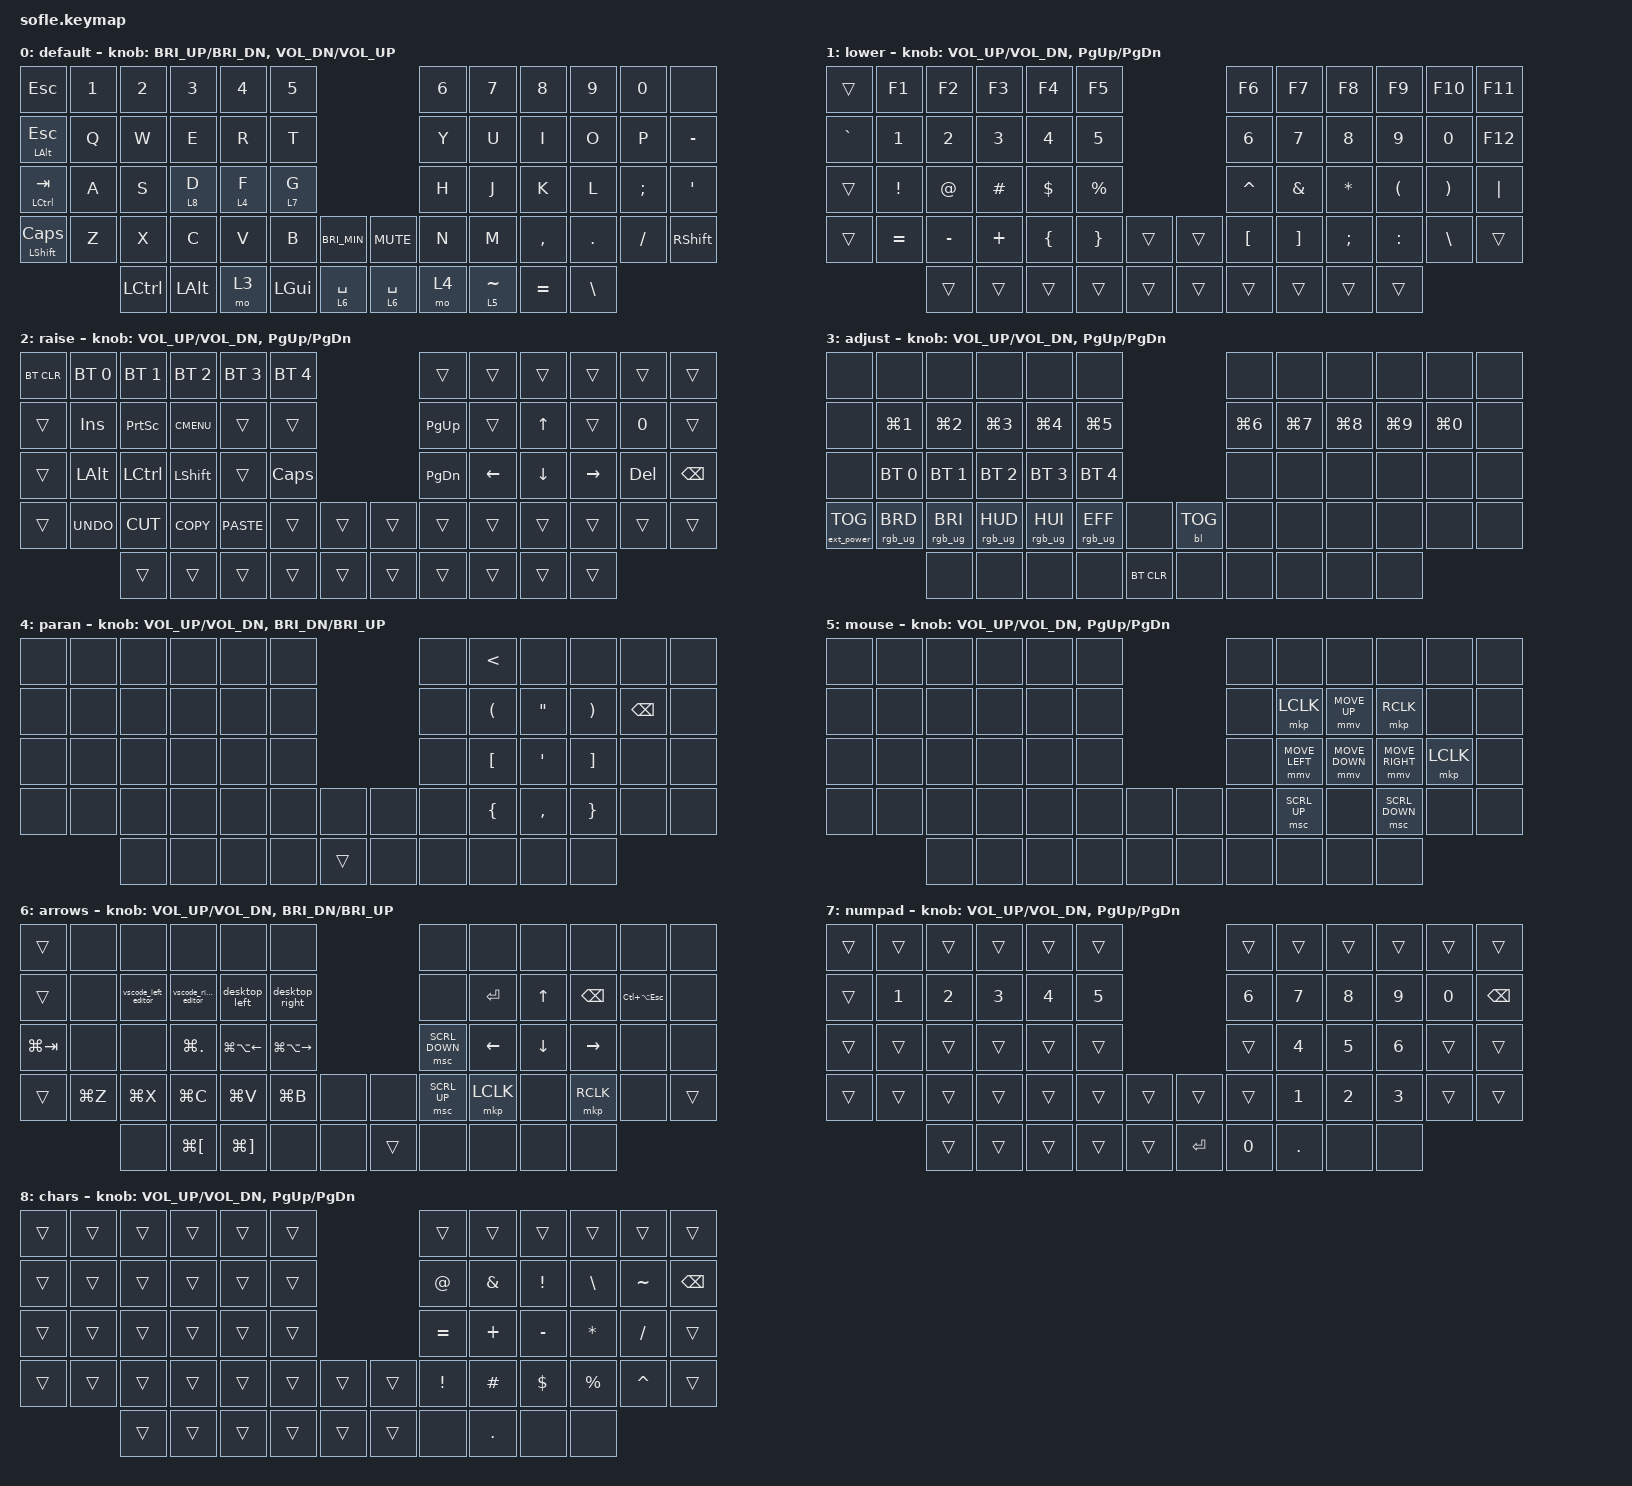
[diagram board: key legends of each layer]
/*
 * Copyright (c) 2020 The ZMK Contributors
 *
 * SPDX-License-Identifier: MIT
 */

#include <behaviors.dtsi>
#include <dt-bindings/zmk/keys.h>
#include <dt-bindings/zmk/bt.h>
#include <dt-bindings/zmk/rgb.h>
#include <dt-bindings/zmk/ext_power.h>
#include <input/processors.dtsi>
#include <dt-bindings/zmk/backlight.h>


#define BASE 0
#define LOWER 1
#define RAISE 2
#define ADJUST 3
#define PARAN 4
#define MOUSE 5
#define ARROWS 6
#define NUMPAD 7
#define CHARS 8

#define ZMK_POINTING_DEFAULT_MOVE_VAL 3500
#define ZMK_POINTING_DEFAULT_SCRL_VAL 18

#include <dt-bindings/zmk/pointing.h>

&led_strip {
       chain-length = <36>;
};

&nice_view_spi {
    cs-gpios = <&pro_micro 4 GPIO_ACTIVE_HIGH>;
};

&mmv {
    x-input-code = <INPUT_REL_X>;
    y-input-code = <INPUT_REL_Y>;
    time-to-max-speed-ms = <500>;
    acceleration-exponent = <3>;
};
 //&mmv_input_listener {
 //   input-processors = <&zip_xy_scaler 1 1>;
//};

/ {

   // Activate ADJUST layer by pressing raise and lower
    conditional_layers {
        compatible = "zmk,conditional-layers";
    };

    behaviors {
 //       to use it add &alt_ctrl_esc in keybinding
        alt_ctrl_esc: alt_ctrl_esc {
            compatible = "zmk,behavior-macro";
            #binding-cells = <0>;  /* Must match the binding definition */
        wait-ms = <0>;
            tap-ms = <0>;
            bindings = <
                &macro_press &kp LALT &kp LCTRL
                &macro_tap &kp ESC
                &macro_release &kp LCTRL &kp LALT
            >;
        };
        vscode_left_editor: vscode_left_editor {
            compatible = "zmk,behavior-macro";
            #binding-cells = <0>;
            wait-ms = <0>;
            tap-ms = <0>;
            bindings = <
                &macro_press   &kp LGUI &kp K
                &macro_tap     &kp LEFT
                &macro_release     &kp LGUI &kp K
            >;
        };

        vscode_right_editor: vscode_right_editor {
            compatible = "zmk,behavior-macro";
            #binding-cells = <0>;
            wait-ms = <0>;
            tap-ms = <0>;
            bindings = <
                &macro_press   &kp LGUI &kp K
                &macro_tap     &kp RIGHT
                &macro_release     &kp LGUI &kp K
            >;
        };

        desktop_left: desktop_left {
            compatible = "zmk,behavior-macro";
            label = "CTRL_LEFT";
            #binding-cells = <0>;
            wait-ms = <30>;
            tap-ms = <30>;
            bindings =
                <&macro_press   &kp LCTRL>,
                <&macro_tap     &kp LEFT>,
                <&macro_release &kp LCTRL>;
        };

        desktop_right: desktop_right {
            compatible = "zmk,behavior-macro";
            label = "CTRL_RIGHT";
            #binding-cells = <0>;
            wait-ms = <30>;
            tap-ms = <30>;
            bindings =
                <&macro_press   &kp LCTRL>,
                <&macro_tap     &kp RIGHT>,
                <&macro_release &kp LCTRL>;
        };
    };


    keymap {
        compatible = "zmk,keymap";

        default_layer {
            display-name = "default";
//  This layer requires the setting  hidutil property --set '{"CapsLockDelayOverride":0}'  in OSX for CAPS/SHIFT key. 
// ------------------------------------------------------------------------------------------------------------
// |            |  1  |  2  |  3   |  4   |  5   |                   |  6   |  7    |  8    |  9   |   0   |  |
// |   ESC      |  Q  |  W  |  E   |  R   |  T   |                   |  Y   |  U    |  I    |  O   |   P   | MINUS  |
// |   TAB      |  A  |  S  |  D   |  F   |  G 7 |  br+-       vol+- |  H   |  J    |  K    |  L   |   ;   | SQT |
// | CAPS/SHIFT |  Z  |  X  |  C   |  V   |  B   |  BR0   | X|  MUTE |  N   |  M    |  ,    |  .   |   /   | SHIFT |
//                 | CTRL | ALT | CMD  | SPACE|  &M1| X| M4| SP&M3| ~&M2  |  EQUAL   | BSLH |
            bindings = <
&kp ESC          &kp N1 &kp N2    &kp N3   &kp N4    &kp N5                           &kp N6 &kp N7    &kp N8    &kp N9   &kp N0   &none
&mt LALT ESC     &kp Q  &kp W     &kp E    &kp R     &kp T                            &kp Y  &kp U     &kp I     &kp O    &kp P    &kp MINUS
&mt LCTRL TAB    &kp A  &kp S     &lt 8 D    &lt 4 F   &lt 7  G                         &kp H  &kp J     &kp K     &kp L    &kp SEMI &kp SQT
&mt LSHFT CAPS   &kp Z  &kp X     &kp C    &kp V     &kp B     &kp C_BRI_MIN &kp C_MUTE      &kp N  &kp M     &kp COMMA &kp DOT  &kp FSLH &kp RSHFT
                        &kp LCTRL &kp LALT &mo 3     &kp LGUI &lt 6 SPACE    &lt 6  SPACE  &mo 4  &lt 5 TILDE  &kp EQUAL  &kp BSLH
            >;

            sensor-bindings = <&inc_dec_kp C_BRI_UP C_BRI_DN  &inc_dec_kp C_VOL_DN C_VOL_UP>;
        };

        lower_layer {
            display-name = "lower";
// TODO: Some binds are waiting for shifted keycode support.
// ------------------------------------------------------------------------------------------------------------
// |       |  F1 |  F2 |  F3  |  F4  |  F5  |                   |  F6  |  F7   |  F8   |  F9  |  F10  |  F11  |
// |   `   |  1  |  2  |  3   |  4   |  5   |                   |  6   |  7    |  8    |  9   |   0   |  F12  |
// |       |  !  |  @  |  #   |  $   |  %   |                   |  ^   |  &    |  *    |  (   |   )   |   |   |
// |       |  =  |  -  |  +   |  {   |  }   |        |  |       |  [   |  ]    |  ;    |  :   |   \   |       |
//               |     |      |      |      |        |  |       |      |       |       |      |
            bindings = <
&trans    &kp F1    &kp F2    &kp F3      &kp F4    &kp F5                    &kp F6    &kp F7   &kp F8    &kp F9    &kp F10   &kp F11
&kp GRAVE &kp N1    &kp N2    &kp N3      &kp N4    &kp N5                    &kp N6    &kp N7   &kp N8    &kp N9    &kp N0    &kp F12
&trans    &kp EXCL  &kp AT    &kp HASH    &kp DLLR  &kp PRCNT                 &kp CARET &kp AMPS &kp ASTRK &kp LPAR  &kp RPAR  &kp PIPE
&trans    &kp EQUAL &kp MINUS &kp PLUS &kp LBRC  &kp RBRC   &trans &trans  &kp LBKT  &kp RBKT &kp SEMI  &kp COLON &kp BSLH  &trans
                    &trans    &trans      &trans    &trans     &trans &trans  &trans    &trans   &trans    &trans
            >;

            sensor-bindings = <&inc_dec_kp C_VOL_UP C_VOL_DN &inc_dec_kp PG_UP PG_DN>;
        };

        raise_layer {
            display-name = "raise";
// ------------------------------------------------------------------------------------------------------------
// | BTCLR | BT1  | BT2  |  BT3  |  BT4  |  BT5 |                |      |      |       |      |       |       |
// |       | INS  | PSCR | GUI   |       |      |                | PGUP |      |   ^   |      |       |       |
// |       | ALT  | CTRL | SHIFT |       | CAPS |                | PGDN |   <- |   v   |  ->  |  DEL  | BKSPC |
// |       | UNDO | CUT  | COPY  | PASTE |      |      |  |      |      |      |       |      |       |       |
//                |      |       |       |      |      |  |      |      |      |       |      |
            bindings = <
&bt BT_CLR &bt BT_SEL 0 &bt BT_SEL 1 &bt BT_SEL 2 &bt BT_SEL 3 &bt BT_SEL 4                  &trans    &trans    &trans   &trans    &trans  &trans
&trans     &kp INS      &kp PSCRN    &kp K_CMENU  &trans       &trans                        &kp PG_UP &trans    &kp UP   &trans    &kp N0  &trans
&trans     &kp LALT     &kp LCTRL    &kp LSHFT    &trans       &kp CLCK                      &kp PG_DN &kp LEFT  &kp DOWN &kp RIGHT &kp DEL &kp BSPC
&trans     &kp K_UNDO   &kp K_CUT    &kp K_COPY   &kp K_PASTE  &trans        &trans  &trans  &trans    &trans    &trans   &trans    &trans  &trans
                        &trans       &trans       &trans       &trans        &trans  &trans  &trans    &trans    &trans   &trans
            >;

            sensor-bindings = <&inc_dec_kp C_VOL_UP C_VOL_DN &inc_dec_kp PG_UP PG_DN>;
        };

        adjust_layer {
            display-name = "adjust";
// ----------------------------------------------------------------------------------------------------------------------------
// |        |         |         |         |         |         |                  |      |      |       |      |       |       |
// |        | CMD+1   | CMD+2   |   CMD+3 |   CMD+4 |  CMD+5  |                  | CMD+6|CMD+7 | CMD+8 | CMD+9| CMD+0 |       |
// |        | BT1     | BT2     |    BT3  |    BT4  |  BT5    |                  |      |      |       |      |       |       |
// | EXTPWR | RGB_BRI | RGB_BRD | RGB_HUD | RGB_HUI | RGB_EFF | RGB_TOG |x|BL_TOG|      |      |       |      |       |       |
//                    |         |         |         |         |  BTCLR  |x|      |      |      |       |      |
            bindings = <
&none             &none           &none           &none           &none           &none                                 &none &none &none &none &none &none
&none             &kp LG(N1)      &kp LG(N2)      &kp LG(N3)      &kp LG(N4)      &kp LG(N5)                            &kp LG(N6) &kp LG(N7) &kp LG(N8) &kp LG(N9) &kp LG(N0) &none
&none             &bt BT_SEL 0    &bt BT_SEL 1    &bt BT_SEL 2    &bt BT_SEL 3    &bt BT_SEL 4                          &none &none &none &none &none &none
&ext_power EP_TOG &rgb_ug RGB_BRD &rgb_ug RGB_BRI &rgb_ug RGB_HUD &rgb_ug RGB_HUI &rgb_ug RGB_EFF     &none &bl BL_TOG  &none &none &none &none &none &none
                                  &none           &none           &none           &none               &bt BT_CLR        &none  &none &none &none &none
            >;

            sensor-bindings = <&inc_dec_kp C_VOL_UP C_VOL_DN &inc_dec_kp PG_UP PG_DN>;
        };

        paran_layer {
            display-name = "paran";
// ------------------------------------------------------------------------------------------------------------
// |      |     |     |      |      |      |            |     |  <   |       |   >   |      |   |
// |      |     |     |      |      |      |            |     |  (   |   "   |   )   | BSPC |   |
// |      |     |     |      |      |      |            |     |  [   |   '   |   ]   |      |   |
// |      |     |     |      |      |      |    | X|    |     |  {   |   ,   |   }   |      |   |
//              |     |      |      |      |    | X|    |     |      |       |       |
            bindings = <
&none &none &none  &none  &none  &none                   &none   &kp LT      &none      &none     &none      &none 
&none &none &none  &none  &none  &none                   &none   &kp LPAR    &kp DQT    &kp RPAR  &kp BSPC    &none
&none &none &none  &none  &none  &none                   &none   &kp LBKT    &kp SQT    &kp RBKT  &none       &none
&none &none &none  &none  &none  &none      &none  &none &none   &kp LBRC    &kp COMMA  &kp RBRC  &none       &none
            &none  &none  &none  &none      &trans  &none &none   &none       &none      &none
            >;

            sensor-bindings = <&inc_dec_kp C_VOL_UP C_VOL_DN &inc_dec_kp C_BRI_DN C_BRI_UP >;
        };

        mouse_layer {
            display-name = "mouse";
// ------------------------------------------------------------------------------------------------------------
// |      |     |     |      |      |      |            |     |      |       |       |      |   |
// |      |     |     |      |      |      |            |     | lclck|  up   | rclck |      |   |
// |      |     |     |      |      |      |            |     | left |  down | right |lclck |   |
// |      |     |     |      |      |      |    | X|    |     | SDN  |       | SUP   |      |   |
//              |     |      |      |      |    | X|    |     |      |       |       |
            bindings = <
&none &none &none  &none  &none  &none                   &none  &none   &none   &none  &none &none
&none &none &none  &none  &none  &none                   &none  &mkp LCLK       &mmv MOVE_UP &mkp RCLK &none &none
&none &none &none  &none  &none  &none                   &none  &mmv MOVE_LEFT  &mmv MOVE_DOWN &mmv MOVE_RIGHT &mkp LCLK &none
&none &none &none  &none  &none  &none      &none  &none &none  &msc SCRL_UP  &none &msc SCRL_DOWN &none &none

            &none  &none  &none  &none      &none  &none &none  &none   &none   &none
            >;

            sensor-bindings = <&inc_dec_kp C_VOL_UP C_VOL_DN &inc_dec_kp PG_UP PG_DN>;
        };

        arrows_layer {
            display-name = "arrows";
// ------------------------------------------------------------------------------------------------------------
// |Trans |     |      |       |      |      |            |       |           |         |           |         |       |
// |Trans |     |LFOCUS|RFOCUS |LDESK |RDESK |            |       | RET       |  up     |    BACKSP |   DOCK  |       |
// |CMD TB|     |      |TER/EDI| LTAB | RTAB |            |MO SUP | left      |  doywn  |    right  |         |       |
// |Trans |CMD Z|CMD X |CMD C  |CMD V | CMD B|    | X|    |MO SDN |MO LCLICK  |         | MO RCLICK |         | Trans |
//              |Trans | BACK  |  FWD |      |    |X|Trans|       |           |         |           |
            bindings = <
&trans &none &none  &none  &none  &none     &none &none   &none     &none      &none     &none
&trans &none &vscode_left_editor  &vscode_right_editor  &desktop_left  &desktop_right &none &kp RET &kp UP    &kp BSPC   &kp LC(LA(ESC)) &none
&kp LG(TAB) &none &none  &kp LG(DOT)  &kp LG(LA(LEFT))  &kp LG(LA(RIGHT))    &msc SCRL_DOWN &kp LEFT &kp DOWN &kp RIGHT   &none  &none
&trans &kp LG(Z) &kp LG(X)  &kp LG(C)  &kp LG(V) &kp LG(B) &none  &none &msc SCRL_UP &mkp LCLK &none &mkp RCLK &none  &trans

            &none  &kp LG(LBKT)  &kp LG(RBKT)  &none  &none  &trans &none  &none   &none &none
            >;

            sensor-bindings = <&inc_dec_kp C_VOL_UP C_VOL_DN &inc_dec_kp  C_BRI_DN C_BRI_UP>;
        };



        numpad_layer { 
            display-name = "numpad";
 // ------------------------------------------------------------------------------------------------------------
 // |      |     |     |      |      |      |               |   |   |     |     |     |     |
 // |      |  1  |  2  |  3   |   4  |   5  |               | 6 | 7 |  8  |  9  |  0  | BS  |
 // |      |     |     |      |      | ---  |               |   | 4 |  5  |  6  |     |     |
 // |      |     |     |      |      |      |    | X|       |   | 1 |  2  |  3  |     |     | 
 //              |     |      |      |      |    | X|   RET |   | 0 |  .  |     |     
            bindings = <
 &trans &trans &trans &trans &trans &trans                           &trans    &trans &trans  &trans &trans    &trans
 &trans &kp N1 &kp N2 &kp N3 &kp N4 &kp N5                           &kp N6    &kp N7 &kp N8  &kp N9 &kp N0    &kp BSPC
 &trans &trans &trans &trans &trans &trans                           &trans    &kp N4 &kp N5  &kp N6 &trans    &trans
 &trans &trans &trans &trans &trans &trans &trans            &trans  &trans    &kp N1 &kp N2  &kp N3 &trans    &trans
               &trans &trans &trans &trans &trans            &kp RET &kp N0    &kp DOT &none  &none
             >;

             sensor-bindings = <&inc_dec_kp C_VOL_UP C_VOL_DN &inc_dec_kp PG_UP PG_DN>;
         };



        chars_layer { 
            display-name = "chars";
 // ------------------------------------------------------------------------------------------------------------
 // |      |     |     |      |      |      |               |   |   |     |     |     |     |
 // |      |     |     |      |      |      |               | @ | & |  !  |  \  |  ~  | BSPC|
 // |      |     |     |      |      | ---  |               | = | + |  -  |  *  |  /  |     |
 // |      |     |     |      |      |      |    | X|       | | | # |  $  |  %  |  ^  |     | 
 //              |     |      |      |      |    | X|       |   |   |     |     |     
            bindings = <
 &trans &trans &trans &trans &trans &trans                   &trans    &trans   &trans    &trans    &trans    &trans
 &trans &trans &trans &trans &trans &trans                   &kp AT    &kp AMPS &kp EXCL  &kp BSLH  &kp TILDE &kp BSPC
 &trans &trans &trans &trans &trans &trans                   &kp EQUAL &kp PLUS &kp MINUS &kp ASTRK &kp FSLH  &trans
 &trans &trans &trans &trans &trans &trans &trans    &trans  &kp EXCL  &kp HASH &kp DLLR  &kp PRCNT &kp CARET &trans
               &trans &trans &trans &trans &trans    &trans  &none    &kp DOT &none  &none
             >;

             sensor-bindings = <&inc_dec_kp C_VOL_UP C_VOL_DN &inc_dec_kp PG_UP PG_DN>;
         };

//        empty_layer { 
//            display-name = "empty";
// // ------------------------------------------------------------------------------------------------------------
// // |      |     |     |      |      |      |            |     |      |       |      |       |   |
// // |      |     |     |      |      |      |            |     |      |       |      |       |   |
// // |      |     |     |      |      |      |            |     |      |       |      |       |   |
// // |      |     |     |      |      |      |    | X|    |     |      |       |      |       |   |
// //              |     |      |      |      |    | X|    |     |      |       |      |
//            bindings = <
// &kp ESC &kp N1 &kp N2   &kp N3   &kp N4    &kp N5                           &kp N6 &kp N7    &kp N8    &kp N9   &kp N0   &kp MINUS
// &kp TAB   &kp Q  &kp W    &kp E    &kp R     &kp T                            &kp Y  &kp U     &kp I     &kp O    &kp P    &kp EQUAL
// &kp LSHFT   &kp A  &kp S    &kp D    &kp F     &kp G                            &kp H  &kp J     &kp K     &kp L    &kp SEMI &kp RSHFT
// &kp LCTRL &kp Z  &kp X    &kp C    &kp V     &kp B      &kp C_MUTE &none      &kp N  &kp M     &kp COMMA &kp DOT  &kp FSLH &kp SQT
//                 &kp LGUI &kp LALT &kp LCTRL &mo LOWER  &kp RET    &kp SPACE  &mo RAISE  &lt 1 TILDE   &none  &none
//             >;
//
//             sensor-bindings = <&inc_dec_kp C_VOL_UP C_VOL_DN &inc_dec_kp PG_UP PG_DN>;
//         };

    };
};

